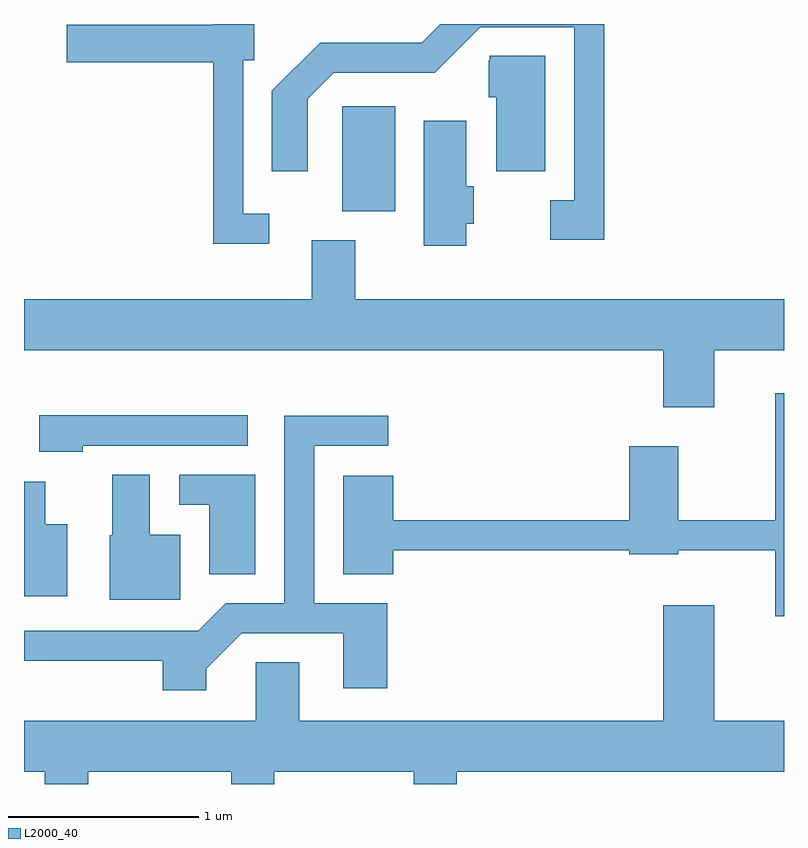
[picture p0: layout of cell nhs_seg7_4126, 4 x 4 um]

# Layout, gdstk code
import gdstk
lib = gdstk.Library(unit=1e-6, precision=1e-09)
def R(c, l, rs):  # rectangles x0, y0, x1, y1
    for r in rs: c.add(gdstk.rectangle(r[:2], r[2:], *l))
def P(c, l, *ps):  # polygons
    for p in ps: c.add(gdstk.Polygon(p, *l))
L2000_40 = (2000, 40)

nhs_seg7_4126 = lib.new_cell('nhs_seg7_4126')
R(nhs_seg7_4126, L2000_40, [(313.286,1717.266,313.564,1717.819)])
P(nhs_seg7_4126, L2000_40, [(312.903,1717.254),(312.764,1717.254),(312.764,1718.061),(312.824,1718.061),(312.824,1718.252),(312.606,1718.252),(312.606,1718.249),(311.836,1718.249),(311.836,1718.051),(312.606,1718.051),(312.606,1717.096),(312.903,1717.096)],
  [(314.664,1718.252),(313.802,1718.252),(313.704,1718.154),(313.169,1718.154),(312.916,1717.902),(312.916,1717.476),(313.104,1717.476),(313.104,1717.859),(313.242,1717.996),(313.772,1717.996),(314.012,1718.236),(314.506,1718.236),(314.506,1717.324),(314.381,1717.324),(314.381,1717.116),(314.664,1717.116)],
  [(314.354,1718.084),(314.062,1718.084),(314.062,1718.06),(314.056,1718.06),(314.056,1717.866),(314.096,1717.866),(314.096,1717.476),(314.354,1717.476)],
  [(313.939,1717.201),(313.979,1717.201),(313.979,1717.399),(313.939,1717.399),(313.939,1717.744),(313.716,1717.744),(313.716,1717.086),(313.939,1717.086)],
  [(315.244,1716.536),(315.611,1716.536),(315.611,1716.804),(313.354,1716.804),(313.354,1717.114),(313.126,1717.114),(313.126,1716.804),(311.611,1716.804),(311.611,1716.536),(314.976,1716.536),(314.976,1716.236),(315.244,1716.236)],
  [(315.611,1716.309),(315.566,1716.309),(315.566,1715.639),(315.054,1715.639),(315.054,1716.029),(314.796,1716.029),(314.796,1715.639),(313.554,1715.639),(313.554,1715.874),(313.291,1715.874),(313.291,1715.356),(313.554,1715.356),(313.554,1715.481),(314.796,1715.481),(314.796,1715.461),(315.054,1715.461),(315.054,1715.481),(315.566,1715.481),(315.566,1715.136),(315.611,1715.136)],
  [(311.919,1716.031),(312.788,1716.031),(312.788,1716.194),(311.691,1716.194),(311.691,1716.001),(311.919,1716.001)],
  [(312.569,1714.859),(312.757,1715.046),(313.291,1715.046),(313.291,1714.756),(313.524,1714.756),(313.524,1715.204),(313.139,1715.204),(313.139,1716.031),(313.528,1716.031),(313.528,1716.189),(312.981,1716.189),(312.981,1715.204),(312.674,1715.204),(312.529,1715.059),(311.611,1715.059),(311.611,1714.901),(312.341,1714.901),(312.341,1714.746),(312.569,1714.746)],
  [(312.829,1715.879),(312.428,1715.879),(312.428,1715.721),(312.586,1715.721),(312.586,1715.356),(312.829,1715.356)],
  [(312.434,1715.564),(312.274,1715.564),(312.274,1715.879),(312.076,1715.879),(312.076,1715.56),(312.061,1715.56),(312.061,1715.221),(312.434,1715.221)],
  [(311.839,1715.619),(311.724,1715.619),(311.724,1715.844),(311.611,1715.844),(311.611,1715.241),(311.839,1715.241)],
  [(314.976,1715.194),(314.976,1714.584),(313.059,1714.584),(313.059,1714.894),(312.831,1714.894),(312.831,1714.584),(311.611,1714.584),(311.611,1714.316),(311.721,1714.316),(311.721,1714.252),(311.949,1714.252),(311.949,1714.316),(312.701,1714.316),(312.701,1714.252),(312.929,1714.252),(312.929,1714.316),(313.661,1714.316),(313.661,1714.252),(313.889,1714.252),(313.889,1714.316),(315.611,1714.316),(315.611,1714.584),(315.244,1714.584),(315.244,1715.194)])

lib.write_gds('nhs_seg7_4126.gds')
